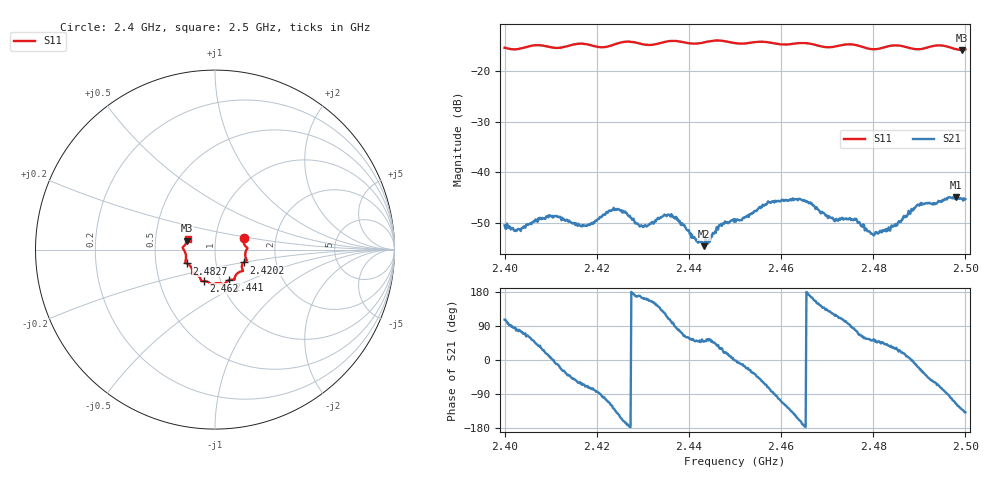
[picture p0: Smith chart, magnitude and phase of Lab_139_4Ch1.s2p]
# Hz S RI R 50
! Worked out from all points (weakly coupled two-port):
!   601 points, 2.4 GHz to 2.5 GHz, reference 50 ohm
!   highest |S21| = -44.93 dB at 2.498 GHz (marker M1); lowest = -54.7 dB at 2.4433 GHz (marker M2)
!   lowest |S11| = -15.8 dB at 2.4993 GHz (marker M3), VSWR 1.39, Z = 36.5 + j3.8 ohm
!   |S11| at or under -10 dB: start of sweep to end of sweep
!   S12 and S22 are empty: the file has one direction only
!   S11 on the Smith chart (normalised r, x): 2.4 GHz: 1.36, +0.18; 2.4202 GHz: 1.36, -0.20; 2.441 GHz: 1.10, -0.39; 2.462 GHz: 0.84, -0.30; 2.4827 GHz: 0.72, -0.11; 2.5 GHz: 0.73, +0.09
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2.4e9  0.1589 0.0628  -0.000851 0.00284  0 0  0 0
2.403e9  0.1636 0.0285  0.000661 0.00265  0 0  0 0
2.409833e9  0.1733 -0.00496  0.00364 0.000425  0 0  0 0
2.416667e9  0.1772 -0.0608  0.00145 -0.00258  0 0  0 0
2.420167e9  0.159 -0.0714  0.000363 -0.00338  0 0  0 0
2.424167e9  0.1518 -0.1082  -0.00309 -0.00303  0 0  0 0
2.429667e9  0.1399 -0.1231  -0.00288 0.000771  0 0  0 0
2.433333e9  0.1116 -0.1508  -0.00274 0.00223  0 0  0 0
2.436667e9  0.1083 -0.1678  -0.000387 0.00353  0 0  0 0
2.441e9  0.0789 -0.1699  0.00137 0.00177  0 0  0 0
2.443333e9  0.0588 -0.1837  0.00121 0.0014  0 0  0 0
2.45e9  0.0286 -0.1875  0.00342 -5.39e-05  0 0  0 0
2.462e9  -0.0602 -0.1752  -0.00363 -0.00398  0 0  0 0
2.466667e9  -0.0788 -0.1683  -0.00474 0.00127  0 0  0 0
2.4765e9  -0.1274 -0.1278  0.000855 0.00315  0 0  0 0
2.479833e9  -0.1339 -0.0967  0.00152 0.0019  0 0  0 0
2.482667e9  -0.1558 -0.0772  0.00202 0.00182  0 0  0 0
2.483333e9  -0.1603 -0.0752  0.00226 0.00172  0 0  0 0
2.489833e9  -0.1629 -0.0264  0.00449 -0.00159  0 0  0 0
2.498e9  -0.1615 0.0336  -0.00239 -0.00514  0 0  0 0
2.499333e9  -0.1541 0.0507  -0.00359 -0.0041  0 0  0 0
2.5e9  -0.1521 0.0603  -0.00403 -0.00361  0 0  0 0
